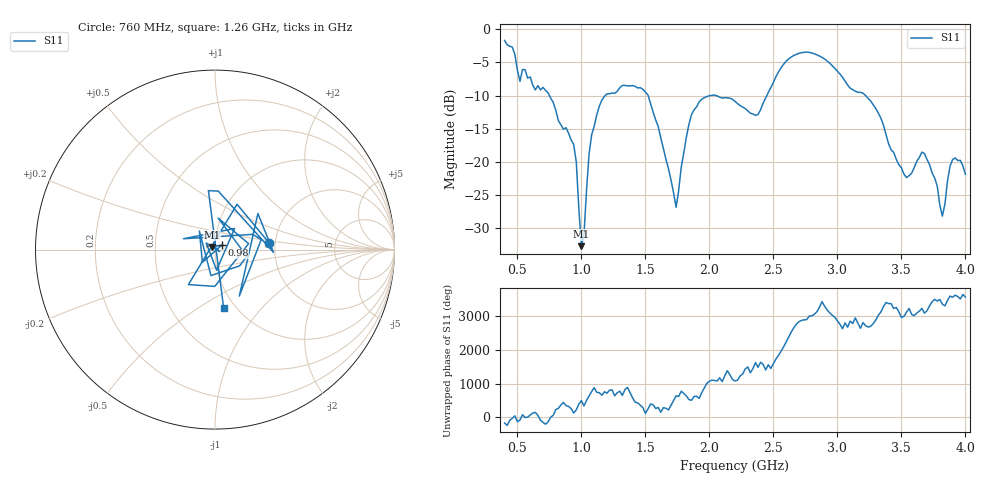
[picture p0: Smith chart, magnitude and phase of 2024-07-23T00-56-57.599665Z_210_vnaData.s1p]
!Created with skrf (http://scikit-rf.org).
# Hz S RI R 50.0
!freq ReS11 ImS11
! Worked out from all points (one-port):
!   181 points, 400 MHz to 4 GHz, reference 50 ohm
!   lowest |S11| = -32.7 dB at 1 GHz (marker M1), VSWR 1.05, Z = 48.3 + j1.49 ohm
!   |S11| at or under -10 dB: 750.2 MHz to 1.186 GHz (435.3 MHz wide, 45 % of centre); 1.522 GHz to 2.007 GHz (485.5 MHz wide, 27.5 % of centre); 3.221 GHz to end of sweep (the widest 3 of 4)
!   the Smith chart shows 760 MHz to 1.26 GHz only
!   S11 on the Smith chart (normalised r, x): 760 MHz: 1.85, +0.16; 980 MHz: 1.08, +0.05; 1.26 GHz: 0.88, -0.64
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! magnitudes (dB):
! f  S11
! 400 MHz  -1.7
! 520 MHz  -7.8
! 760 MHz  -10.4
! 860 MHz  -15.1
! 940 MHz  -17.4
! 960 MHz  -20.0
! 980 MHz  -27.0
! 1 GHz  -32.7
! 1.02 GHz  -31.0
! 1.08 GHz  -15.9
! 1.16 GHz  -10.7
! 1.26 GHz  -9.7
! 1.3 GHz  -8.8
! 1.52 GHz  -9.9
! 1.74 GHz  -26.8
! 1.76 GHz  -24.3
! 1.88 GHz  -12.1
! 2.2 GHz  -10.9
! 2.38 GHz  -12.8
! 2.66 GHz  -3.9
! 2.88 GHz  -4.2
! 3.1 GHz  -8.9
! 3.28 GHz  -11.4
! 3.56 GHz  -22.1
! 3.68 GHz  -18.7
! 3.82 GHz  -28.2
! 3.9 GHz  -19.6
! 4 GHz  -21.8
